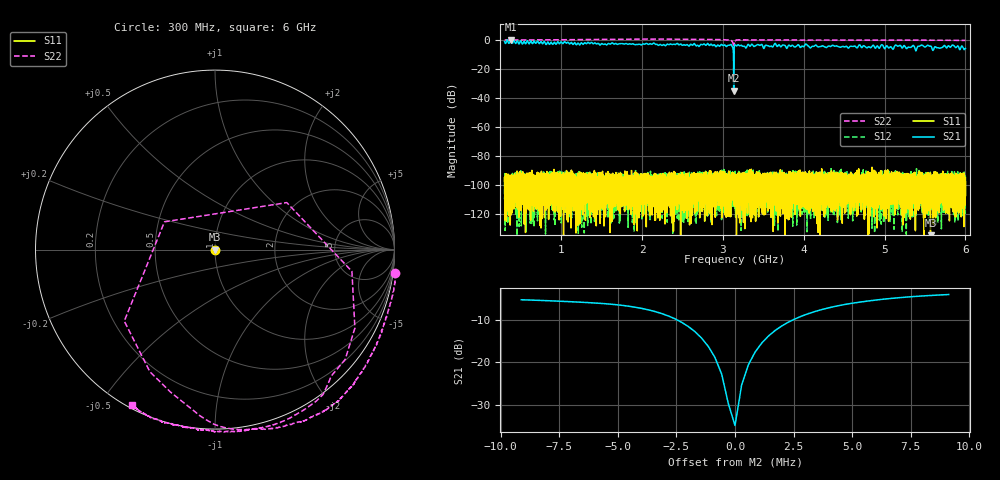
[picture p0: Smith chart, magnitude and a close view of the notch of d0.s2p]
!Agilent Technologies,N5230C,SG49000117,A.08.50.07
!Agilent N5230C: A.08.50.07
!Date: Saturday, March 16, 2024 23:55:55
!Correction: S11(Off)
!S21(Off)
!S12(Off)
!S22(Full 1 Port(2))
!S2P File: Measurements: S11, S21, S12, S22:
# Hz S  RI  R 50
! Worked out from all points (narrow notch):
!   20001 points, 300 MHz to 6 GHz, reference 50 ohm
!   highest |S21| = 0.41 dB at 374.4 MHz (marker M1); lowest = -34.8 dB at 3.134 GHz (marker M2)
!   notch at M2: 31.4 dB deep, 1.54 MHz wide at half that depth
!   lowest |S11| = -149.6 dB at 5.569 GHz (marker M3), VSWR 1.00, Z = 50 + j2.25e-06 ohm
!   |S11| at or under -10 dB: start of sweep to end of sweep
!   |S22| runs from -11.0 to 0.7 dB; largest |S21 - S12| = 1
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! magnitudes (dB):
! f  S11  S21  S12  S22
! 300 MHz  -97.2  -0.9  -97.3  0.1
! 374.4 MHz  -99.3  0.4  -98.1  0.2
! 1.25 GHz  -115.6  -1.8  -100.9  0.4
! 2.2 GHz  -108.2  -3.6  -99.6  0.7
! 3.084 GHz  -98.4  -3.4  -96.2  0.1
! 3.134 GHz  -106.2  -34.8  -103.3  -8.7
! 3.15 GHz  -94.8  -3.2  -97.5  -0.4
! 3.171 GHz  -98.1  -3.9  -101.5  0.2
! 3.271 GHz  -100.0  -4.5  -105.3  0.2
! 3.456 GHz  -103.0  -3.6  -104.9  0.2
! 3.518 GHz  -98.4  -4.4  -97.9  0.2
! 3.66 GHz  -96.6  -3.4  -120.6  0.1
! 3.977 GHz  -95.3  -4.2  -94.7  0.1
! 4.035 GHz  -101.4  -2.9  -104.6  0.1
! 4.1 GHz  -100.4  -4.4  -102.5  0.1
! 5.05 GHz  -109.0  -5.3  -99.7  0.0
! 5.396 GHz  -104.2  -6.4  -88.7  0.0
! 5.454 GHz  -95.6  -3.5  -93.8  0.0
! 5.569 GHz  -149.6  -4.1  -99.7  0.0
! 5.613 GHz  -94.7  -5.3  -100.5  0.0
! 5.846 GHz  -101.1  -3.4  -99.5  -0.1
! 6 GHz  -94.8  -5.7  -94.7  -0.1
